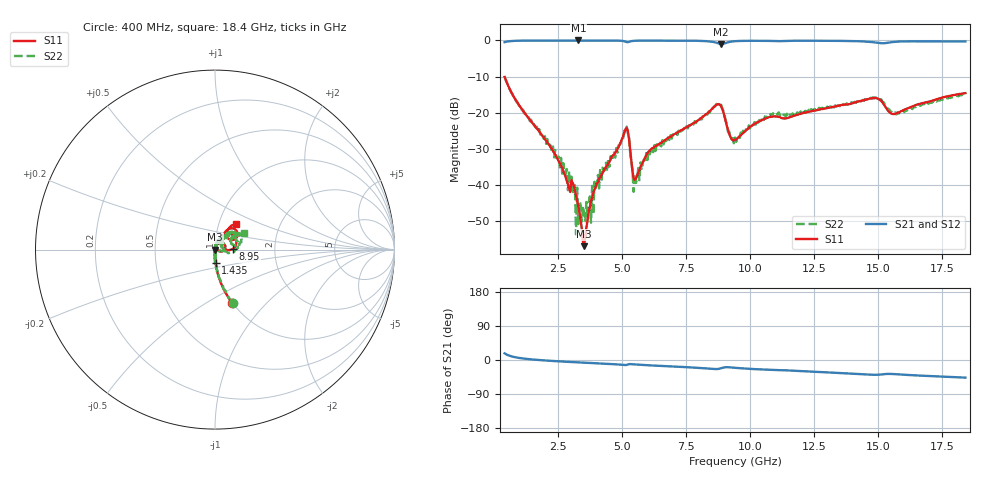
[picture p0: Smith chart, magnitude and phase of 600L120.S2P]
!  American Technical Ceramics  Date:  10/27/06
!  One Norden Lane
!  Huntington Station,  NY.  11746-2102
!  Tel:  (631) 622-4700  Fax:  (631) 622-4748
!  Part Number  600L120  Mounting Orientation:  Horizontal
!  Description: Ultra Low ESR Microwave capacitors
!  Application: Coupling, Bypass, Tuning, DC Block
!  Filters, Matching
# GHZ S DB R 50
! Freq  |S11|  S11 Ph  |S21|  S21 Ph  |S12|  S12 Ph  |S22|  S22 Ph
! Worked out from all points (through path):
!   401 points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, 400 MHz to 18.4 GHz, reference 50 ohm
!   highest |S21| = -0.02 dB at 3.28 GHz (marker M1); lowest = -1.0 dB at 8.86 GHz (marker M2)
!   group delay of S21, straight-line fit = 7.75 ps
!   lowest |S11| = -57.0 dB at 3.505 GHz (marker M3), VSWR 1.00, Z = 50.1 - j0.0112 ohm
!   |S11| at or under -10 dB: start of sweep to end of sweep
!   |S22| runs from -53.7 to -10.0 dB; largest |S21 - S12| = 0.0033
!   S11 on the Smith chart (normalised r, x): 400 MHz: 1.00, -0.66; 1.435 GHz: 1.00, -0.15; 8.95 GHz: 1.22, +0.01; 18.4 GHz: 1.21, +0.36
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0.4  -10.11 -72.1  -0.49 17.5  -0.48 17.4  -10.03 -71.0
1.435  -22.43 -87.4  -0.04 1.7  -0.03 1.7  -21.98 -87.6
2.695  -36.15 -91.3  -0.02 -4.2  -0.01 -4.2  -34.02 -94.8
2.875  -39.84 -98.1  -0.02 -4.9  -0.01 -4.9  -41.47 -87.0
3.1  -40.20 -86.7  -0.03 -5.7  -0.02 -5.7  -42.53 -126.5
3.28  -45.98 -81.4  -0.02 -6.3  -0.02 -6.3  -50.87 -14.1
3.415  -52.16 -62.8  -0.03 -6.8  -0.02 -6.8  -50.16 -179.6
3.505  -56.98 -4.5  -0.02 -7.1  -0.02 -7.1  -47.63 91.4
3.955  -40.70 67.0  -0.03 -8.5  -0.03 -8.6  -40.91 111.9
5.125  -24.55 35.0  -0.36 -13.3  -0.35 -13.4  -25.18 42.3
5.215  -25.08 1.3  -0.50 -11.7  -0.50 -11.8  -25.74 8.8
5.485  -38.65 23.5  -0.10 -11.9  -0.10 -11.9  -37.05 23.8
6.43  -28.71 66.9  -0.05 -15.4  -0.05 -15.4  -28.99 66.8
8.86  -18.32 13.6  -0.99 -21.7  -1.00 -21.8  -17.85 4.0
8.95  -20.01 2.3  -0.92 -19.9  -0.92 -20.0  -19.59 -9.2
9.22  -26.71 10.6  -0.36 -19.5  -0.37 -19.6  -27.00 5.3
9.4  -27.58 34.5  -0.22 -20.6  -0.23 -20.7  -26.88 23.9
10.795  -21.16 55.4  -0.16 -26.2  -0.16 -26.3  -20.39 52.8
12.415  -19.57 59.9  -0.10 -30.7  -0.10 -30.8  -19.52 53.5
14.845  -15.95 42.6  -0.55 -39.1  -0.55 -39.1  -16.05 29.0
15.43  -19.87 32.7  -0.58 -36.7  -0.59 -36.7  -19.12 13.2
18.4  -14.61 50.2  -0.29 -46.5  -0.30 -46.5  -14.74 29.7
